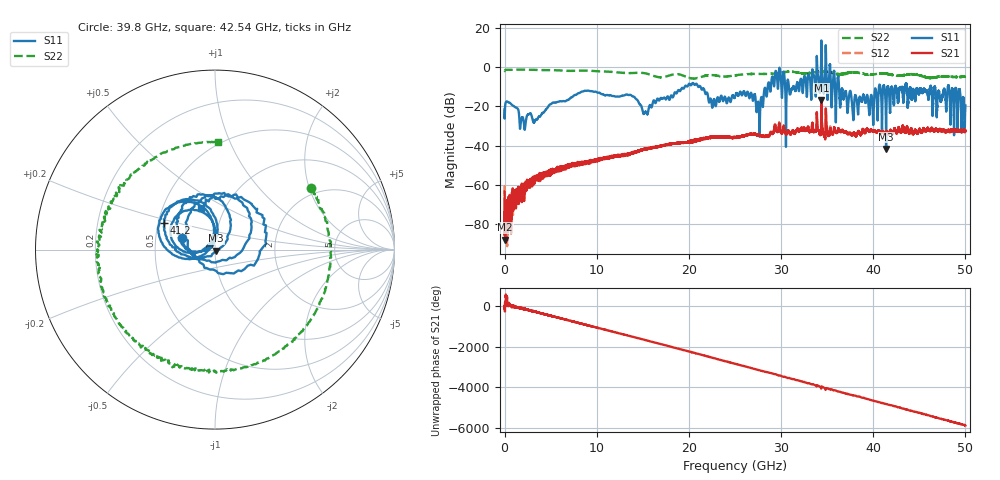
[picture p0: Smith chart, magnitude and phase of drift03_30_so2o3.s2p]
!Created with skrf (http://scikit-rf.org).
# Hz S RI R 50.0
!freq ReS11 ImS11 ReS21 ImS21 ReS12 ImS12 ReS22 ImS22
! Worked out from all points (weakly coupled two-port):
!   10001 points, 300 kHz to 50 GHz, reference 50 ohm
!   highest |S21| = -16.86 dB at 34.37 GHz (marker M1); lowest = -87.9 dB at 60.3 MHz (marker M2)
!   lowest |S11| = -41.8 dB at 41.4 GHz (marker M3), VSWR 1.02, Z = 50.6 - j0.562 ohm
!   |S11| at or under -10 dB: start of sweep to 19.56 GHz; 21.25 GHz to 28.55 GHz (7.297 GHz wide, 29.3 % of centre); 36.28 GHz to 40.62 GHz (4.339 GHz wide, 11.3 % of centre) (the widest 3 of 36)
!   |S22| runs from -5.9 to -1.3 dB; largest |S21 - S12| = 0.029
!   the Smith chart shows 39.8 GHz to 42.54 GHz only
!   S11 on the Smith chart (normalised r, x): 39.8 GHz: 0.69, +0.09; 41.2 GHz: 0.54, +0.18; 42.54 GHz: 0.77, +0.38
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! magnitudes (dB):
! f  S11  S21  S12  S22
! 300 kHz  -21.6  -63.7  -60.3  -2.1
! 60.3 MHz  -19.7  -87.9  -76.6  -1.6
! 255.3 MHz  -17.6  -72.5  -88.1  -1.4
! 3.305 GHz  -27.3  -57.4  -57.8  -1.5
! 8.335 GHz  -12.6  -49.2  -49.2  -1.9
! 13.76 GHz  -14.5  -44.1  -44.0  -3.1
! 15.29 GHz  -22.8  -41.7  -41.7  -3.3
! 16.67 GHz  -16.5  -40.6  -40.3  -5.2
! 20.26 GHz  -9.1  -38.0  -38.2  -5.8
! 22.71 GHz  -16.4  -35.8  -35.6  -4.2
! 25 GHz  -15.3  -35.8  -35.8  -4.3
! 27.52 GHz  -17.8  -34.7  -34.6  -3.5
! 29.28 GHz  -8.3  -30.8  -30.4  -3.3
! 30.73 GHz  -6.5  -32.7  -32.6  -2.5
! 33.34 GHz  -7.4  -31.4  -31.2  -2.9
! 34.37 GHz  13.5  -16.9  -18.0  -2.3
! 39.8 GHz  -14.3  -32.2  -32.1  -3.9
! 41.2 GHz  -9.9  -34.2  -33.9  -3.4
! 41.4 GHz  -41.8  -32.6  -32.9  -3.5
! 41.67 GHz  -11.7  -34.2  -34.1  -3.7
! 42.54 GHz  -12.2  -33.5  -33.5  -4.5
! 50 GHz  -19.6  -32.6  -32.6  -5.0
